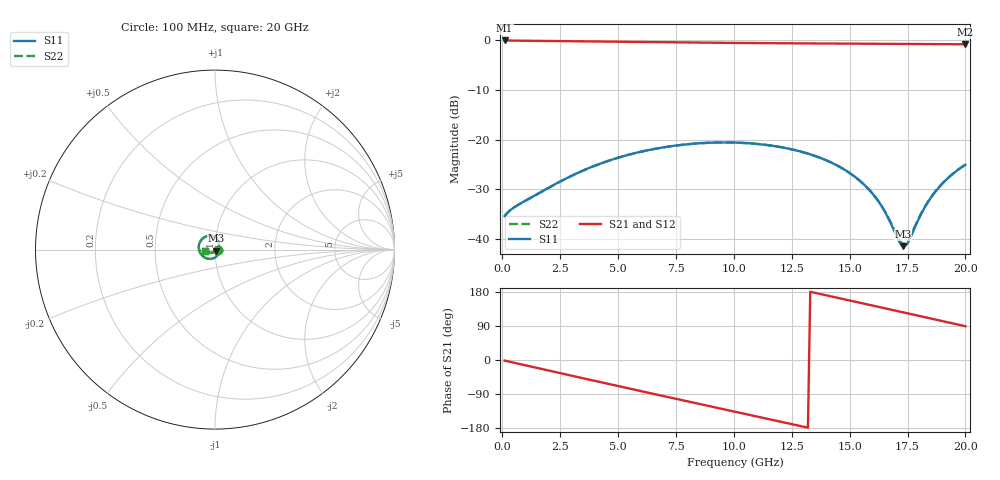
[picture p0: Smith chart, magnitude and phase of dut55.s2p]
! Touchstone file exported from HFSS 2026.1.0
!  File:  C:/ffzhzh/LocalFiles/Ansys_Project_Files/temp_train_TSV_RDL_55_1782967753_45748.aedt
!  Generated:  12:56:25 PM Jul  2, 2026
!  Design:  TSV_RDL
!  Project:  temp_train_TSV_RDL_55_1782967753_45748
! Variables:
!  h_bsmrdl = 3.04um
!  h_ox = 20um
!  h_rdl = 5um
!  h_sub = 83.44um
!  h_tmrdl = 5.38um
!  h_tsv = 83.44um
!  h_via = 3um
!  l_bsmrdl = 408.12um
!  l_sub = 3597.91um
!  l_tmrdl = 467.1um
!  m_sub = 200um
!  pitch = 27.57um
!  r_tsv = 13.05um
!  s_tmrdl = 10um
!  w_bsmrdl = 14.85um
!  w_sub = 500um
!  w_tmrdl = 20.2um
!  x_tsv_center1 = 477.2um
!  x_tsv_center2 = 900.17um
!  x_tsv_center3 = 1387.47um
!  x_tsv_center4 = 1810.44um
!  x_tsv_center5 = 2297.74um
!  x_tsv_center6 = 2720.71um
# GHz S MA R 50.000000
! Terminal data exported
! Port[1] = TM_RDL1_1_T1
! Port[2] = TM_RDL5_1_T1
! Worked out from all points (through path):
!   200 points, 100 MHz to 20 GHz, reference 50 ohm
!   highest |S21| = -0.15 dB at 100 MHz (marker M1); lowest = -0.9 dB at 20 GHz (marker M2)
!   group delay of S21, straight-line fit = 37.4 ps
!   lowest |S11| = -41.4 dB at 17.3 GHz (marker M3), VSWR 1.02, Z = 50.6 - j0.596 ohm
!   |S11| at or under -10 dB: start of sweep to end of sweep
!   |S22| runs from -40.9 to -20.6 dB; largest |S21 - S12| = 1.7e-13
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0.1  0.01709 1.4  0.9829 -1.5  0.9829 -1.5  0.01709 1.4
! Gamma 0 0 0 0
! Port Impedance 50 0 50 0
0.5  0.02083 -11.7  0.9792 -7.1  0.9792 -7.1  0.02083 -11.7
1.7  0.03009 -55.1  0.9733 -23.7  0.9733 -23.7  0.03007 -55.1
3.5  0.04906 -100.2  0.9642 -48.3  0.9642 -48.3  0.04901 -100.3
4.4  0.05924 -118.6  0.959 -60.6  0.959 -60.6  0.05917 -118.7
5.2  0.06787 -133.8  0.9543 -71.4  0.9543 -71.4  0.06778 -133.9
6.8  0.08239 -162.2  0.9449 -93.0  0.9449 -93.0  0.08228 -162.4
8.4  0.09143 171.1  0.9362 -114.5  0.9362 -114.5  0.09132 170.9
10.1  0.09319 143.7  0.9282 -137.2  0.9282 -137.2  0.09309 143.4
11.8  0.08568 116.8  0.9222 -159.9  0.9222 -159.9  0.0856 116.5
13.4  0.06985 91.2  0.918 178.7  0.918 178.7  0.0698 90.8
14.5  0.05436 72.7  0.9157 163.9  0.9157 163.9  0.05435 72.1
15.4  0.03936 55.8  0.9139 151.7  0.9139 151.7  0.03938 55.1
16.1  0.02668 39.4  0.9124 142.2  0.9124 142.2  0.02676 38.3
16.7  0.01581 16.6  0.911 134.1  0.911 134.1  0.01601 14.9
17.1  0.009909 -15.8  0.91 128.7  0.91 128.7  0.01028 -17.6
17.3  0.008547 -43.6  0.9095 125.9  0.9095 125.9  0.009005 -44.4
17.5  0.009112 -73.9  0.9089 123.2  0.9089 123.2  0.009572 -73.3
18.2  0.02005 -127.9  0.9067 113.7  0.9067 113.7  0.0203 -126.9
18.7  0.02999 -143.8  0.905 106.8  0.905 106.8  0.03018 -143.1
19.3  0.04215 -157.4  0.9028 98.6  0.9028 98.6  0.0423 -157.0
20  0.05595 -170.5  0.9 89.1  0.9 89.1  0.05608 -170.2
